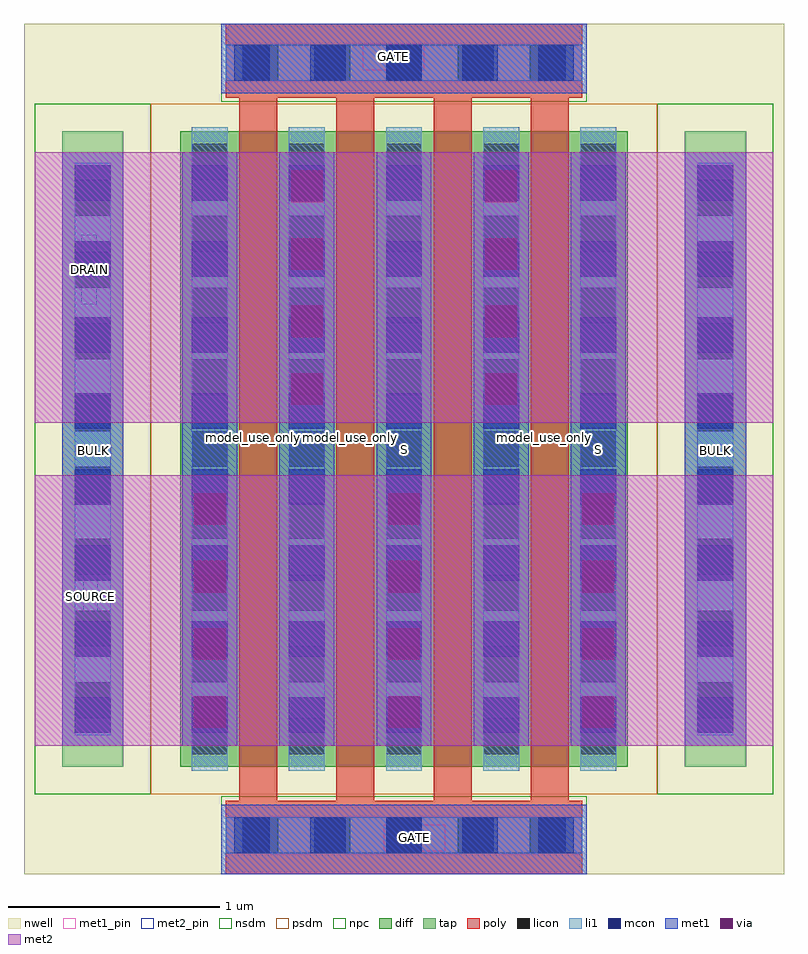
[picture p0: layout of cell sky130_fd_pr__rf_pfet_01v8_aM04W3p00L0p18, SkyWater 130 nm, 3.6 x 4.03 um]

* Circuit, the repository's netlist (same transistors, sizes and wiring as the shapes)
* Copyright 2020 The SkyWater PDK Authors
*
* Licensed under the Apache License, Version 2.0 (the "License");
* you may not use this file except in compliance with the License.
* You may obtain a copy of the License at
*
*     https://www.apache.org/licenses/LICENSE-2.0
*
* Unless required by applicable law or agreed to in writing, software
* distributed under the License is distributed on an "AS IS" BASIS,
* WITHOUT WARRANTIES OR CONDITIONS OF ANY KIND, either express or implied.
* See the License for the specific language governing permissions and
* limitations under the License.
*
* SPDX-License-Identifier: Apache-2.0


.subckt sky130_fd_pr__rf_pfet_01v8_aM04W3p00L0p18 BULK DRAIN GATE SOURCE
X0 SOURCE GATE DRAIN BULK sky130_fd_pr__pfet_01v8 w=3.01e+06u l=180000u
X1 SOURCE GATE DRAIN BULK sky130_fd_pr__pfet_01v8 w=3.01e+06u l=180000u
X2 DRAIN GATE SOURCE BULK sky130_fd_pr__pfet_01v8 w=3.01e+06u l=180000u
X3 DRAIN GATE SOURCE BULK sky130_fd_pr__pfet_01v8 w=3.01e+06u l=180000u
.ends

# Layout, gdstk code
import gdstk
lib = gdstk.Library(unit=1e-6, precision=1e-09)
def R(c, l, rs):  # rectangles x0, y0, x1, y1
    for r in rs: c.add(gdstk.rectangle(r[:2], r[2:], *l))
def A(c, l, x, y, w, h, nx, ny, dx, dy):  # array of equal rectangles
    R(c, l, [(x+i*dx, y+j*dy, x+i*dx+w, y+j*dy+h) for i in range(nx) for j in range(ny)])
nwell = (64, 20)
diff = (65, 20)
tap = (65, 44)
poly = (66, 20)
licon = (66, 44)
li1 = (67, 20)
mcon = (67, 44)
met1_pin = (68, 16)
met1 = (68, 20)
via = (68, 44)
met2_pin = (69, 16)
met2 = (69, 20)
nsdm = (93, 44)
psdm = (94, 20)
npc = (95, 20)

sky130_fd_pr__rf_pfet_01 = lib.new_cell('sky130_fd_pr__rf_pfet_01v8_aM04W3p00L0p18')
R(sky130_fd_pr__rf_pfet_01, nwell, [(0,0,3.6,4.03)])
R(sky130_fd_pr__rf_pfet_01, diff, [(0.74,0.51,2.86,3.52)])
R(sky130_fd_pr__rf_pfet_01, tap, [(0.18,0.51,0.47,3.52), (3.13,0.51,3.42,3.52)])
A(sky130_fd_pr__rf_pfet_01, poly, 1.02, 0.35, 0.18, 3.33, 4, 1, 0.46, 0)
R(sky130_fd_pr__rf_pfet_01, poly, [(0.955,0,2.645,0.35), (0.955,3.68,2.645,4.03)])
A(sky130_fd_pr__rf_pfet_01, licon, 1.035, 0.1, 0.17, 0.17, 5, 2, 0.34, 3.66)
A(sky130_fd_pr__rf_pfet_01, licon, 0.795, 0.57, 0.17, 0.17, 5, 9, 0.46, 0.34)
A(sky130_fd_pr__rf_pfet_01, licon, 0.24, 0.74, 0.17, 0.17, 1, 8, 0, 0.34)
A(sky130_fd_pr__rf_pfet_01, licon, 3.19, 0.74, 0.17, 0.17, 1, 8, 0, 0.34)
A(sky130_fd_pr__rf_pfet_01, li1, 0.795, 0.49, 0.17, 3.05, 5, 1, 0.46, 0)
A(sky130_fd_pr__rf_pfet_01, li1, 0.795, 0.67, 0.17, 2.69, 5, 1, 0.46, 0)
R(sky130_fd_pr__rf_pfet_01, li1, [(0.955,0.1,2.645,0.27), (0.995,0.1,2.605,0.27), (0.24,0.66,0.41,3.37), (3.19,0.66,3.36,3.37), (0.24,0.67,0.41,3.36), (3.19,0.67,3.36,3.36), (0.955,3.76,2.645,3.93), (0.995,3.76,2.605,3.93)])
A(sky130_fd_pr__rf_pfet_01, mcon, 0.995, 0.1, 0.17, 0.17, 5, 2, 0.36, 3.66)
A(sky130_fd_pr__rf_pfet_01, mcon, 0.24, 0.67, 0.17, 0.17, 1, 8, 0, 0.36)
A(sky130_fd_pr__rf_pfet_01, mcon, 0.795, 0.67, 0.17, 0.17, 5, 8, 0.46, 0.36)
A(sky130_fd_pr__rf_pfet_01, mcon, 3.19, 0.67, 0.17, 0.17, 1, 8, 0, 0.36)
R(sky130_fd_pr__rf_pfet_01, met1_pin, [(1.705,0.11,1.995,0.235), (0.245,1.98,0.415,2.035), (3.19,1.98,3.36,2.035), (1.605,3.81,1.895,3.935)])
A(sky130_fd_pr__rf_pfet_01, met1, 0.75, 0.61, 0.26, 1.28, 3, 1, 0.92, 0)
A(sky130_fd_pr__rf_pfet_01, met1, 0.75, 0.61, 0.26, 2.81, 5, 1, 0.46, 0)
R(sky130_fd_pr__rf_pfet_01, met1, [(0.935,0,2.665,0.33), (0.18,0.61,0.47,3.42), (3.13,0.61,3.42,3.42), (1.21,2.14,1.47,3.42), (2.13,2.14,2.39,3.42), (0.935,3.7,2.665,4.03)])
A(sky130_fd_pr__rf_pfet_01, via, 0.805, 0.695, 0.15, 0.15, 3, 4, 0.92, 0.32)
A(sky130_fd_pr__rf_pfet_01, via, 1.265, 2.225, 0.15, 0.15, 1, 4, 0, 0.32)
A(sky130_fd_pr__rf_pfet_01, via, 2.185, 2.225, 0.15, 0.15, 1, 4, 0, 0.32)
R(sky130_fd_pr__rf_pfet_01, met2_pin, [(0.28,1.155,0.35,1.47), (0.27,2.7,0.345,3.03)])
A(sky130_fd_pr__rf_pfet_01, met2, 0.75, 0.61, 0.26, 1.28, 3, 1, 0.92, 0)
R(sky130_fd_pr__rf_pfet_01, met2, [(0.05,0.61,3.55,1.89), (0.05,2.14,3.55,3.42), (1.21,2.14,1.47,3.42), (2.13,2.14,2.39,3.42)])
R(sky130_fd_pr__rf_pfet_01, nsdm, [(0.05,0.38,0.6,3.65), (3,0.38,3.55,3.65)])
R(sky130_fd_pr__rf_pfet_01, psdm, [(0.6,0.38,3,3.65)])
R(sky130_fd_pr__rf_pfet_01, npc, [(0.935,0,2.665,0.37), (0.935,3.66,2.665,4.03)])
sky130_fd_pr__rf_pfet_01.add(gdstk.Label('model_use_only', (1.085,2.07), layer=66, texttype=83))
sky130_fd_pr__rf_pfet_01.add(gdstk.Label('model_use_only', (1.545,2.07), layer=66, texttype=83))
sky130_fd_pr__rf_pfet_01.add(gdstk.Label('model_use_only', (2,2.07), layer=66, texttype=83))
sky130_fd_pr__rf_pfet_01.add(gdstk.Label('model_use_only', (2.465,2.07), layer=66, texttype=83))
sky130_fd_pr__rf_pfet_01.add(gdstk.Label('S', (0.88,2.015), layer=83, texttype=44))
sky130_fd_pr__rf_pfet_01.add(gdstk.Label('S', (1.34,2.015), layer=83, texttype=44))
sky130_fd_pr__rf_pfet_01.add(gdstk.Label('S', (1.8,2.015), layer=83, texttype=44))
sky130_fd_pr__rf_pfet_01.add(gdstk.Label('S', (2.26,2.015), layer=83, texttype=44))
sky130_fd_pr__rf_pfet_01.add(gdstk.Label('S', (0.88,2.015), layer=83, texttype=44))
sky130_fd_pr__rf_pfet_01.add(gdstk.Label('D', (1.34,2.015), layer=83, texttype=44))
sky130_fd_pr__rf_pfet_01.add(gdstk.Label('S', (1.8,2.015), layer=83, texttype=44))
sky130_fd_pr__rf_pfet_01.add(gdstk.Label('D', (2.26,2.015), layer=83, texttype=44))
sky130_fd_pr__rf_pfet_01.add(gdstk.Label('S', (2.72,2.015), layer=83, texttype=44))
sky130_fd_pr__rf_pfet_01.add(gdstk.Label('GATE', (1.75,3.875), layer=68, texttype=5))
sky130_fd_pr__rf_pfet_01.add(gdstk.Label('GATE', (1.85,0.175), layer=68, texttype=5))
sky130_fd_pr__rf_pfet_01.add(gdstk.Label('BULK', (3.275,2.01), layer=68, texttype=5))
sky130_fd_pr__rf_pfet_01.add(gdstk.Label('BULK', (0.33,2.01), layer=68, texttype=5))
sky130_fd_pr__rf_pfet_01.add(gdstk.Label('DRAIN', (0.31,2.865), layer=69, texttype=5))
sky130_fd_pr__rf_pfet_01.add(gdstk.Label('SOURCE', (0.315,1.315), layer=69, texttype=5))

lib.write_gds('sky130_fd_pr__rf_pfet_01v8_aM04W3p00L0p18.gds')
